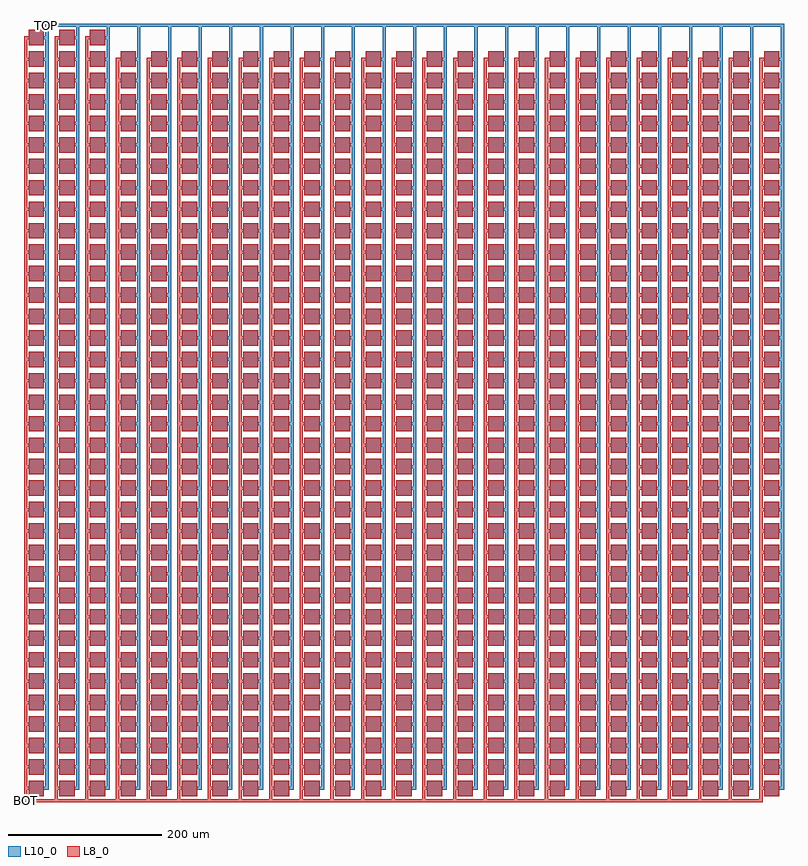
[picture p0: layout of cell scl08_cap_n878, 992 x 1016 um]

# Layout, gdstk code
import gdstk
lib = gdstk.Library(unit=1e-6, precision=1e-09)
def R(c, l, rs):  # rectangles x0, y0, x1, y1
    for r in rs: c.add(gdstk.rectangle(r[:2], r[2:], *l))
def A(c, l, x, y, w, h, nx, ny, dx, dy):  # array of equal rectangles
    R(c, l, [(x+i*dx, y+j*dy, x+i*dx+w, y+j*dy+h) for i in range(nx) for j in range(ny)])
L8_0 = (8, 0)
L10_0 = (10, 0)

scl08_cap_n878 = lib.new_cell('scl08_cap_n878')
A(scl08_cap_n878, L8_0, -6, -8, 4, 1000, 3, 1, 40, 0)
A(scl08_cap_n878, L8_0, 114, -8, 4, 972, 22, 1, 40, 0)
A(scl08_cap_n878, L8_0, 0, 0, 20, 20, 25, 35, 40, 28)
A(scl08_cap_n878, L8_0, -6, 8, 6, 4, 25, 35, 40, 28)
A(scl08_cap_n878, L8_0, 0, 980, 20, 20, 3, 1, 40, 0)
A(scl08_cap_n878, L8_0, -6, 988, 6, 4, 3, 1, 40, 0)
R(scl08_cap_n878, L8_0, [(-6,-8,958,-4)])
A(scl08_cap_n878, L10_0, 0, 0, 20, 20, 25, 35, 40, 28)
A(scl08_cap_n878, L10_0, 20, 8, 6, 4, 25, 35, 40, 28)
A(scl08_cap_n878, L10_0, 22, 8, 4, 1000, 25, 1, 40, 0)
A(scl08_cap_n878, L10_0, 0, 980, 20, 20, 3, 1, 40, 0)
A(scl08_cap_n878, L10_0, 20, 988, 6, 4, 3, 1, 40, 0)
R(scl08_cap_n878, L10_0, [(22,1004,986,1008)])
scl08_cap_n878.add(gdstk.Label('BOT', (-4,-6), layer=8, texttype=7))
scl08_cap_n878.add(gdstk.Label('TOP', (24,1006), layer=10, texttype=7))

lib.write_gds('scl08_cap_n878.gds')
